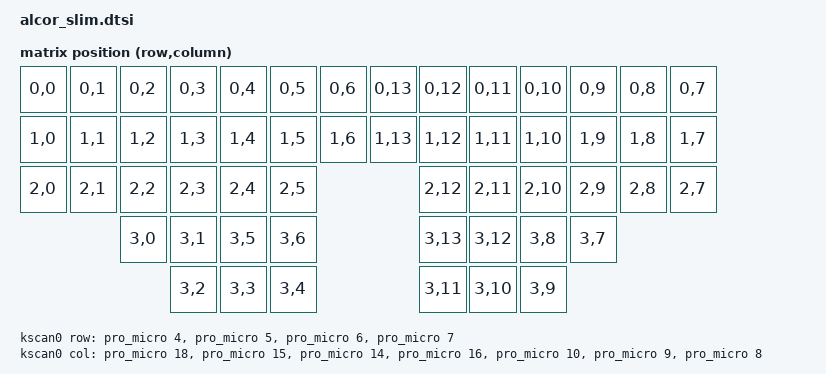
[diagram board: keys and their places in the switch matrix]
#include <dt-bindings/zmk/matrix_transform.h>

/ {
    kscan0: kscan0 {
        compatible = "zmk,kscan-gpio-matrix";
        diode-direction = "col2row";
        wakeup-source;

    	col-gpios
    	    = <&pro_micro 18 GPIO_ACTIVE_HIGH> // 0
    	    , <&pro_micro 15 GPIO_ACTIVE_HIGH> // 1
    	    , <&pro_micro 14 GPIO_ACTIVE_HIGH> // 2
    	    , <&pro_micro 16 GPIO_ACTIVE_HIGH> // 3
    	    , <&pro_micro 10 GPIO_ACTIVE_HIGH> // 4
    	    , <&pro_micro 9 GPIO_ACTIVE_HIGH>  // 5
    	    , <&pro_micro 8 GPIO_ACTIVE_HIGH>  // 6
    	    ;

        row-gpios
            = <&pro_micro 4 (GPIO_ACTIVE_HIGH | GPIO_PULL_DOWN)> // 0
            , <&pro_micro 5 (GPIO_ACTIVE_HIGH | GPIO_PULL_DOWN)> // 1
            , <&pro_micro 6 (GPIO_ACTIVE_HIGH | GPIO_PULL_DOWN)> // 2
            , <&pro_micro 7 (GPIO_ACTIVE_HIGH | GPIO_PULL_DOWN)> // 3
            ;
    };

    default_transform: keymap_transform0 {
        compatible = "zmk,matrix-transform";
        columns = <14>;
        rows = <4>;
        map = <
            RC(0,0) RC(0,1) RC(0,2) RC(0,3) RC(0,4) RC(0,5) RC(0,6)  RC(0,13) RC(0,12) RC(0,11) RC(0,10) RC(0,9) RC(0,8) RC(0,7)
            RC(1,0) RC(1,1) RC(1,2) RC(1,3) RC(1,4) RC(1,5) RC(1,6)  RC(1,13) RC(1,12) RC(1,11) RC(1,10) RC(1,9) RC(1,8) RC(1,7)
            RC(2,0) RC(2,1) RC(2,2) RC(2,3) RC(2,4) RC(2,5)                   RC(2,12) RC(2,11) RC(2,10) RC(2,9) RC(2,8) RC(2,7)
                            RC(3,0) RC(3,1)  RC(3,5) RC(3,6)                 RC(3,13) RC(3,12)  RC(3,8) RC(3,7)
                                     RC(3,2) RC(3,3) RC(3,4)                 RC(3,11) RC(3,10) RC(3,9)
        >;
    };

    physical_layout0: physical_layout_0 {
        compatible = "zmk,physical-layout";
        display-name = "Default Layout";
        kscan = <&kscan0>;
        transform = <&default_transform>;
    };

    chosen {
        zmk,physical-layout = &physical_layout0;
    };
    
};


&pinctrl {
    spi0_default: spi0_default {
        group1 {
            psels = <NRF_PSEL(SPIM_SCK, 0, 20)>,
                <NRF_PSEL(SPIM_MOSI, 0, 17)>,
                <NRF_PSEL(SPIM_MISO, 0, 25)>;
        };
    };
    spi0_sleep: spi0_sleep {
        group1 {
            psels = <NRF_PSEL(SPIM_SCK, 0, 20)>,
                <NRF_PSEL(SPIM_MOSI, 0, 17)>,
                <NRF_PSEL(SPIM_MISO, 0, 25)>;
            low-power-enable;
        };
    };
};

nice_view_spi: &spi0 {
    compatible = "nordic,nrf-spim";
    pinctrl-0 = <&spi0_default>;
    pinctrl-1 = <&spi0_sleep>;
    pinctrl-names = "default", "sleep";
    cs-gpios = <&pro_micro 1 GPIO_ACTIVE_HIGH>;
};

&pro_micro_i2c {
    status = "disabled";
};
